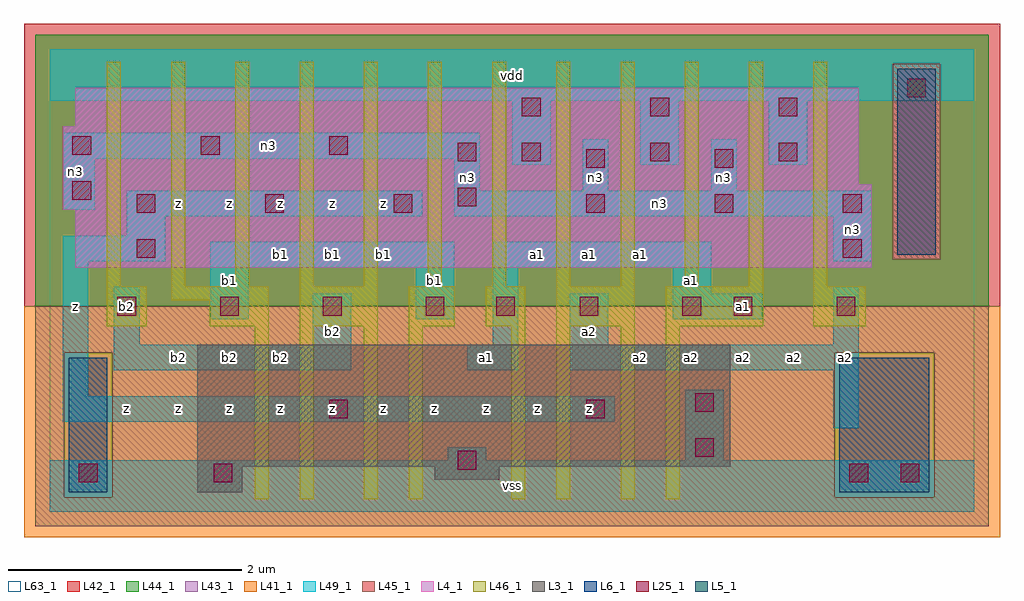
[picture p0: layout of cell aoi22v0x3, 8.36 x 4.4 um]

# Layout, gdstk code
import gdstk
lib = gdstk.Library(unit=1e-6, precision=1e-09)
def R(c, l, rs):  # rectangles x0, y0, x1, y1
    for r in rs: c.add(gdstk.rectangle(r[:2], r[2:], *l))
def A(c, l, x, y, w, h, nx, ny, dx, dy):  # array of equal rectangles
    R(c, l, [(x+i*dx, y+j*dy, x+i*dx+w, y+j*dy+h) for i in range(nx) for j in range(ny)])
L3_1 = (3, 1)
L4_1 = (4, 1)
L5_1 = (5, 1)
L6_1 = (6, 1)
L25_1 = (25, 1)
L41_1 = (41, 1)
L42_1 = (42, 1)
L43_1 = (43, 1)
L44_1 = (44, 1)
L45_1 = (45, 1)
L46_1 = (46, 1)
L49_1 = (49, 1)
L63_1 = (63, 1)

aoi22v0x3 = lib.new_cell('aoi22v0x3')
R(aoi22v0x3, L3_1, [(1.265,0.165,1.65,0.385), (3.3,0.275,3.85,0.385), (1.265,0.385,5.83,1.43)])
R(aoi22v0x3, L4_1, [(0.22,2.09,7.04,2.585), (0.11,2.585,7.04,2.805), (0.11,2.805,6.93,3.3), (0.22,3.3,6.93,3.63)])
R(aoi22v0x3, L5_1, [(7.26,2.2,7.59,3.795)])
R(aoi22v0x3, L6_1, [(0.165,0.165,0.495,1.32), (6.765,0.165,7.535,1.32)])
A(aoi22v0x3, L25_1, 0.58, 1.68, 0.16, 0.16, 4, 1, 0.88, 0)
A(aoi22v0x3, L25_1, 0.745, 2.56, 0.16, 0.16, 3, 1, 1.1, 0)
A(aoi22v0x3, L25_1, 4.595, 2.56, 0.16, 0.16, 3, 1, 1.1, 0)
A(aoi22v0x3, L25_1, 4.045, 3, 0.16, 0.16, 3, 2, 1.1, 0.385)
A(aoi22v0x3, L25_1, 0.195, 3.055, 0.16, 0.16, 3, 1, 1.1, 0)
R(aoi22v0x3, L25_1, [(0.25,0.25,0.41,0.41), (1.405,0.25,1.565,0.41), (6.85,0.25,7.01,0.41), (7.29,0.25,7.45,0.41), (3.495,0.36,3.655,0.52), (5.53,0.47,5.69,0.63), (2.395,0.8,2.555,0.96), (4.595,0.8,4.755,0.96), (5.53,0.855,5.69,1.015), (3.825,1.68,3.985,1.84), (4.54,1.68,4.7,1.84), (5.42,1.68,5.58,1.84), (5.86,1.68,6.02,1.84), (6.74,1.68,6.9,1.84), (0.745,2.175,0.905,2.335), (6.795,2.175,6.955,2.335), (3.495,2.615,3.655,2.775), (0.195,2.67,0.355,2.83), (4.595,2.945,4.755,3.105), (5.695,2.945,5.855,3.105), (3.495,3,3.655,3.16), (7.345,3.55,7.505,3.71)])
R(aoi22v0x3, L41_1, [(-0.22,-0.22,8.14,1.76)])
R(aoi22v0x3, L42_1, [(-0.22,1.76,8.14,4.18)])
R(aoi22v0x3, L43_1, [(0.165,0.165,0.495,1.32), (1.265,0.165,1.65,0.385), (6.765,0.165,7.535,1.32), (3.3,0.275,3.85,0.385), (1.265,0.385,5.83,1.43), (0.22,2.09,7.04,2.585), (7.26,2.2,7.59,3.795), (0.11,2.585,7.04,2.805), (0.11,2.805,6.93,3.3), (0.22,3.3,6.93,3.63)])
R(aoi22v0x3, L44_1, [(0.125,0.125,0.535,1.36), (6.725,0.125,7.575,1.36), (-0.125,1.76,8.045,2.16), (-0.125,2.16,7.22,3.835), (7.63,2.16,8.045,3.835), (-0.125,3.835,8.045,4.085)])
R(aoi22v0x3, L45_1, [(-0.125,-0.125,8.045,0.125), (-0.125,0.125,0.125,1.36), (0.535,0.125,6.725,1.36), (7.575,0.125,8.045,1.36), (-0.125,1.36,8.045,1.76), (7.22,2.16,7.63,3.835)])
A(aoi22v0x3, L46_1, 0.49, 1.93, 0.12, 1.925, 12, 1, 0.55, 0)
R(aoi22v0x3, L46_1, [(1.755,0.105,1.875,1.59), (2.14,0.105,2.26,1.59), (2.69,0.105,2.81,1.59), (3.075,0.105,3.195,1.59), (3.955,0.105,4.075,1.59), (4.34,0.105,4.46,1.59), (4.89,0.105,5.01,1.59), (5.275,0.105,5.395,1.59), (0.49,1.59,0.83,1.93), (1.37,1.59,1.875,1.81), (2.14,1.59,2.81,1.93), (3.075,1.59,3.47,1.93), (3.735,1.59,4.075,1.93), (4.34,1.59,5.01,1.93), (5.275,1.59,6.11,1.93), (6.54,1.59,6.99,1.93), (1.04,1.81,1.875,1.93)])
A(aoi22v0x3, L49_1, 3.96, 2.97, 0.33, 0.55, 3, 1, 1.1, 0)
R(aoi22v0x3, L49_1, [(0,0,7.92,0.44), (3.41,0.44,3.74,0.55), (5.445,0.44,5.775,1.045), (6.71,0.715,6.93,1.21), (0.11,0.77,4.84,0.99), (0.11,0.99,0.33,2.145), (0.55,1.21,2.585,1.43), (3.575,1.21,4.015,1.43), (4.455,1.21,6.93,1.43), (0.55,1.43,0.77,1.925), (2.255,1.43,2.585,1.87), (3.795,1.43,4.015,2.09), (4.455,1.43,4.785,1.87), (6.71,1.43,6.93,1.925), (1.375,1.65,1.705,2.09), (3.135,1.65,3.465,2.09), (5.335,1.65,6.105,1.87), (5.335,1.87,5.665,2.09), (1.375,2.09,3.465,2.31), (3.795,2.09,5.665,2.31), (0.11,2.145,0.99,2.365), (6.71,2.145,7.04,2.53), (0.66,2.365,0.99,2.53), (0.66,2.53,3.19,2.75), (3.465,2.53,7.04,2.75), (0.11,2.585,0.385,3.025), (3.465,2.75,3.685,3.025), (4.565,2.75,4.785,3.19), (5.665,2.75,5.885,3.19), (0.11,3.025,3.685,3.245), (0,3.52,7.92,3.96)])
R(aoi22v0x3, L63_1, [(0,0,7.92,3.96)])
aoi22v0x3.add(gdstk.Label('z', (0.66,0.88), layer=49, texttype=1))
aoi22v0x3.add(gdstk.Label('z', (1.1,0.88), layer=49, texttype=1))
aoi22v0x3.add(gdstk.Label('b2', (1.1,1.32), layer=49, texttype=1))
aoi22v0x3.add(gdstk.Label('b2', (0.66,1.76), layer=49, texttype=1))
aoi22v0x3.add(gdstk.Label('z', (0.22,1.76), layer=49, texttype=1))
aoi22v0x3.add(gdstk.Label('z', (1.1,2.64), layer=49, texttype=1))
aoi22v0x3.add(gdstk.Label('n3', (0.22,2.915), layer=49, texttype=1))
aoi22v0x3.add(gdstk.Label('z', (1.98,0.88), layer=49, texttype=1))
aoi22v0x3.add(gdstk.Label('z', (2.42,0.88), layer=49, texttype=1))
aoi22v0x3.add(gdstk.Label('z', (2.86,0.88), layer=49, texttype=1))
aoi22v0x3.add(gdstk.Label('z', (1.54,0.88), layer=49, texttype=1))
aoi22v0x3.add(gdstk.Label('b2', (1.54,1.32), layer=49, texttype=1))
aoi22v0x3.add(gdstk.Label('b2', (1.98,1.32), layer=49, texttype=1))
aoi22v0x3.add(gdstk.Label('b2', (2.42,1.54), layer=49, texttype=1))
aoi22v0x3.add(gdstk.Label('b1', (1.54,1.98), layer=49, texttype=1))
aoi22v0x3.add(gdstk.Label('b1', (1.98,2.2), layer=49, texttype=1))
aoi22v0x3.add(gdstk.Label('b1', (2.42,2.2), layer=49, texttype=1))
aoi22v0x3.add(gdstk.Label('b1', (2.86,2.2), layer=49, texttype=1))
aoi22v0x3.add(gdstk.Label('z', (1.54,2.64), layer=49, texttype=1))
aoi22v0x3.add(gdstk.Label('z', (1.98,2.64), layer=49, texttype=1))
aoi22v0x3.add(gdstk.Label('z', (2.42,2.64), layer=49, texttype=1))
aoi22v0x3.add(gdstk.Label('z', (2.86,2.64), layer=49, texttype=1))
aoi22v0x3.add(gdstk.Label('vss', (3.96,0.22), layer=49, texttype=1))
aoi22v0x3.add(gdstk.Label('z', (3.74,0.88), layer=49, texttype=1))
aoi22v0x3.add(gdstk.Label('z', (4.18,0.88), layer=49, texttype=1))
aoi22v0x3.add(gdstk.Label('z', (4.62,0.88), layer=49, texttype=1))
aoi22v0x3.add(gdstk.Label('z', (3.3,0.88), layer=49, texttype=1))
aoi22v0x3.add(gdstk.Label('a1', (3.74,1.32), layer=49, texttype=1))
aoi22v0x3.add(gdstk.Label('a2', (4.62,1.54), layer=49, texttype=1))
aoi22v0x3.add(gdstk.Label('b1', (3.3,1.98), layer=49, texttype=1))
aoi22v0x3.add(gdstk.Label('a1', (4.18,2.2), layer=49, texttype=1))
aoi22v0x3.add(gdstk.Label('a1', (4.62,2.2), layer=49, texttype=1))
aoi22v0x3.add(gdstk.Label('n3', (3.575,2.86), layer=49, texttype=1))
aoi22v0x3.add(gdstk.Label('n3', (1.87,3.135), layer=49, texttype=1))
aoi22v0x3.add(gdstk.Label('vdd', (3.96,3.74), layer=49, texttype=1))
aoi22v0x3.add(gdstk.Label('a2', (5.5,1.32), layer=49, texttype=1))
aoi22v0x3.add(gdstk.Label('a2', (5.94,1.32), layer=49, texttype=1))
aoi22v0x3.add(gdstk.Label('a2', (5.06,1.32), layer=49, texttype=1))
aoi22v0x3.add(gdstk.Label('a1', (5.94,1.76), layer=49, texttype=1))
aoi22v0x3.add(gdstk.Label('a1', (5.06,2.2), layer=49, texttype=1))
aoi22v0x3.add(gdstk.Label('a1', (5.5,1.98), layer=49, texttype=1))
aoi22v0x3.add(gdstk.Label('n3', (5.775,2.86), layer=49, texttype=1))
aoi22v0x3.add(gdstk.Label('n3', (4.675,2.86), layer=49, texttype=1))
aoi22v0x3.add(gdstk.Label('a2', (6.38,1.32), layer=49, texttype=1))
aoi22v0x3.add(gdstk.Label('a2', (6.82,1.32), layer=49, texttype=1))
aoi22v0x3.add(gdstk.Label('n3', (6.875,2.42), layer=49, texttype=1))
aoi22v0x3.add(gdstk.Label('n3', (5.225,2.64), layer=49, texttype=1))

lib.write_gds('aoi22v0x3.gds')
